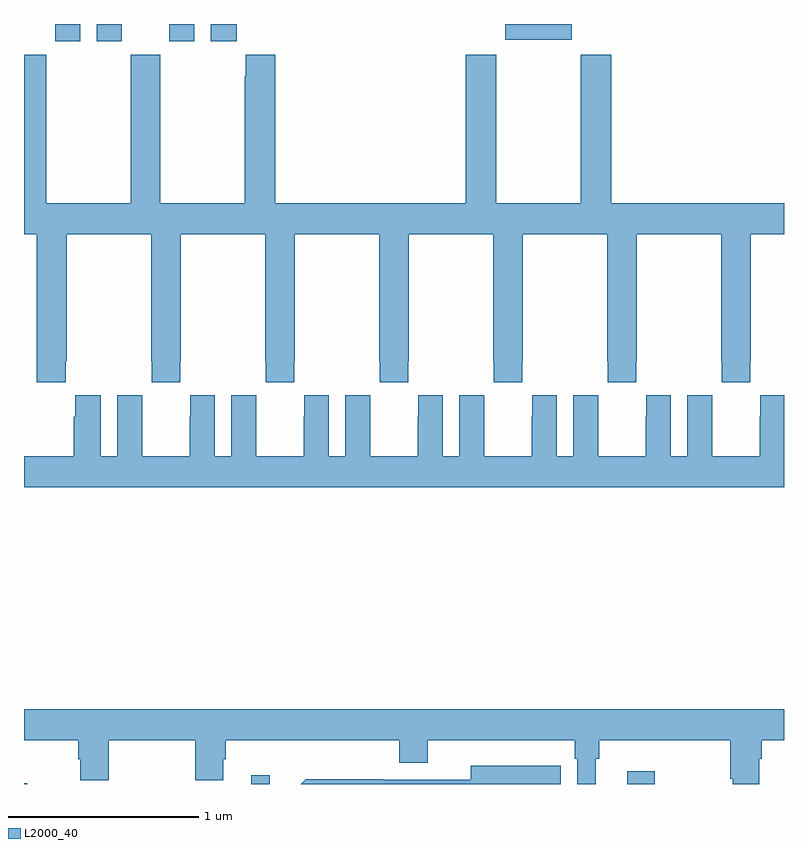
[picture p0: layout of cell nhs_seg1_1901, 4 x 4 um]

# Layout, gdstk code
import gdstk
lib = gdstk.Library(unit=1e-6, precision=1e-09)
def R(c, l, rs):  # rectangles x0, y0, x1, y1
    for r in rs: c.add(gdstk.rectangle(r[:2], r[2:], *l))
def P(c, l, *ps):  # polygons
    for p in ps: c.add(gdstk.Polygon(p, *l))
L2000_40 = (2000, 40)

nhs_seg1_1901 = lib.new_cell('nhs_seg1_1901')
R(nhs_seg1_1901, L2000_40, [(215,522.199,215.016,522.204), (216.197,522.199,216.294,522.246), (218.174,522.199,218.32,522.265), (215.165,526.107,215.296,526.199), (215.384,526.107,215.515,526.199), (215.765,526.107,215.896,526.199), (215.984,526.107,216.121,526.199), (217.532,526.115,217.882,526.199)])
P(nhs_seg1_1901, L2000_40, [(215.671,524.425),(215.673,524.425),(215.673,524.313),(215.823,524.313),(215.823,524.425),(215.826,524.425),(215.826,525.092),(216.271,525.092),(216.271,524.425),(216.273,524.425),(216.273,524.313),(216.423,524.313),(216.423,524.425),(216.426,524.425),(216.426,525.092),(216.871,525.092),(216.871,524.425),(216.873,524.425),(216.873,524.313),(217.023,524.313),(217.023,524.425),(217.026,524.425),(217.026,525.092),(217.471,525.092),(217.471,524.425),(217.473,524.425),(217.473,524.313),(217.623,524.313),(217.623,524.425),(217.626,524.425),(217.626,525.092),(218.071,525.092),(218.071,524.425),(218.073,524.425),(218.073,524.313),(218.223,524.313),(218.223,524.425),(218.226,524.425),(218.226,525.092),(218.671,525.092),(218.671,524.425),(218.673,524.425),(218.673,524.313),(218.823,524.313),(218.823,524.425),(218.826,524.425),(218.826,525.092),(219,525.092),(219,525.256),(218.09,525.256),(218.09,526.036),(217.93,526.036),(217.93,525.256),(217.485,525.256),(217.485,526.036),(217.325,526.036),(217.325,525.256),(216.323,525.256),(216.323,526.036),(216.167,526.036),(216.167,525.923),(216.163,525.923),(216.163,525.256),(215.718,525.256),(215.718,526.036),(215.563,526.036),(215.563,525.256),(215.118,525.256),(215.118,526.036),(215,526.036),(215,525.092),(215.066,525.092),(215.066,524.313),(215.219,524.313),(215.219,524.425),(215.226,524.425),(215.226,525.092),(215.671,525.092)],
  [(219,524.245),(218.874,524.245),(218.874,524.132),(218.873,524.132),(218.873,523.924),(218.623,523.924),(218.623,524.132),(218.622,524.132),(218.622,524.245),(218.492,524.245),(218.492,523.924),(218.404,523.924),(218.404,524.245),(218.274,524.245),(218.274,524.132),(218.273,524.132),(218.273,523.924),(218.023,523.924),(218.023,524.132),(218.022,524.132),(218.022,524.245),(217.892,524.245),(217.892,523.924),(217.804,523.924),(217.804,524.245),(217.674,524.245),(217.674,524.132),(217.673,524.132),(217.673,523.924),(217.423,523.924),(217.423,524.132),(217.422,524.132),(217.422,524.245),(217.292,524.245),(217.292,523.924),(217.204,523.924),(217.204,524.245),(217.074,524.245),(217.074,524.132),(217.073,524.132),(217.073,523.924),(216.823,523.924),(216.823,524.132),(216.822,524.132),(216.822,524.245),(216.692,524.245),(216.692,523.924),(216.604,523.924),(216.604,524.245),(216.474,524.245),(216.474,524.132),(216.473,524.132),(216.473,523.924),(216.223,523.924),(216.223,524.132),(216.222,524.132),(216.222,524.245),(216.092,524.245),(216.092,523.924),(216.004,523.924),(216.004,524.245),(215.874,524.245),(215.874,524.132),(215.873,524.132),(215.873,523.924),(215.623,523.924),(215.623,524.132),(215.622,524.132),(215.622,524.245),(215.492,524.245),(215.492,523.924),(215.404,523.924),(215.404,524.245),(215.27,524.245),(215.27,524.132),(215.261,524.132),(215.261,523.924),(215,523.924),(215,523.76),(219,523.76)],
  [(218.008,522.332),(218.027,522.332),(218.027,522.428),(218.717,522.428),(218.717,522.226),(218.729,522.226),(218.729,522.199),(218.869,522.199),(218.869,522.332),(218.882,522.332),(218.882,522.428),(219,522.428),(219,522.592),(215,522.592),(215,522.428),(215.285,522.428),(215.285,522.33),(215.297,522.33),(215.297,522.22),(215.445,522.22),(215.445,522.428),(215.902,522.428),(215.902,522.22),(216.049,522.22),(216.049,522.33),(216.062,522.33),(216.062,522.428),(216.974,522.428),(216.974,522.311),(217.126,522.311),(217.126,522.428),(217.898,522.428),(217.898,522.332),(217.911,522.332),(217.911,522.199),(218.008,522.199)],
  [(217.826,522.294),(217.718,522.294),(217.718,522.295),(217.35,522.295),(217.35,522.222),(216.89,522.222),(216.89,522.224),(216.482,522.224),(216.457,522.199),(217.826,522.199)])

lib.write_gds('nhs_seg1_1901.gds')
